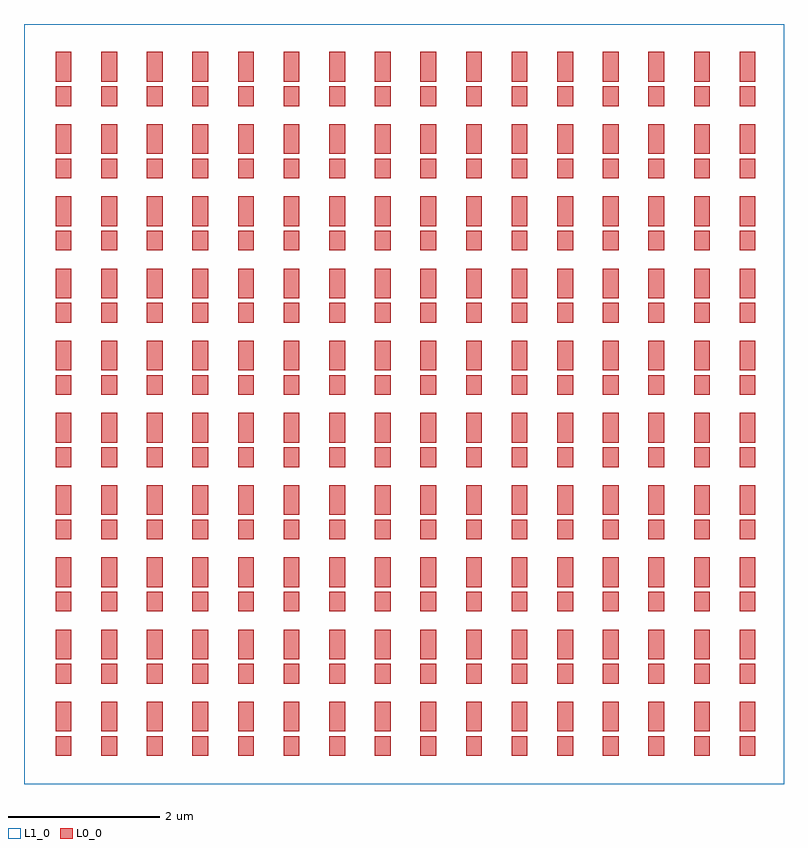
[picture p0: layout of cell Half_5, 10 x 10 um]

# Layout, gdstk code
import gdstk
lib = gdstk.Library(unit=1e-6, precision=1e-09)
def R(c, l, rs):  # rectangles x0, y0, x1, y1
    for r in rs: c.add(gdstk.rectangle(r[:2], r[2:], *l))
L0_0 = (0, 0)
L1_0 = (1, 0)

asymmetric_2_1 = lib.new_cell('Asymmetric$2$1')
R(asymmetric_2_1, L0_0, [(-0.104,-0.13,0.104,0.13), (-0.104,0.192,0.104,0.582)])

half_5 = lib.new_cell('Half_5')
R(half_5, L1_0, [(-5,-5,5,5)])
r = gdstk.Reference(asymmetric_2_1, (-4.48,-4.5)); r.repetition = gdstk.Repetition(16, 10, v1=(0.6,0), v2=(0,0.95)); half_5.add(r)

lib.write_gds('Half_5.gds')
